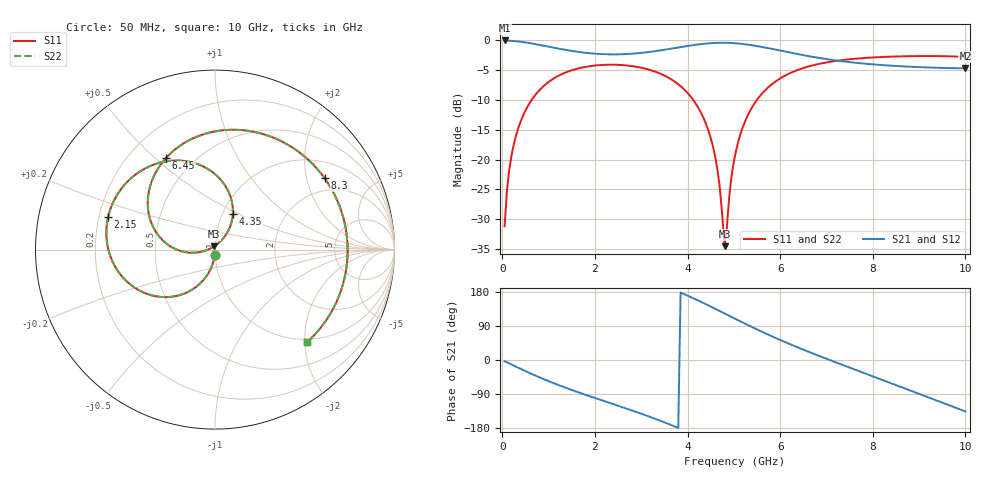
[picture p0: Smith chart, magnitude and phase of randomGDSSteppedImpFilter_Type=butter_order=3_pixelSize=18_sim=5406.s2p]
! freq	dB(S11)	phase(S11)	dB(S12)	phase(S12)
!  dB(S21)	phase(S21)	dB(S22)	phase(S22)
!S-par simulation data
#  GHz  S  DB  R 50
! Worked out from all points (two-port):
!   200 points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, 50 MHz to 10 GHz, reference 50 ohm
!   highest |S21| = -0.01 dB at 50 MHz (marker M1); lowest = -4.7 dB at 10 GHz (marker M2)
!   |S21| within 3 dB of the highest: start of sweep to 6.891 GHz
!   lowest |S11| = -34.5 dB at 4.8 GHz (marker M3), VSWR 1.04, Z = 49.4 + j1.75 ohm
!   |S11| at or under -10 dB: start of sweep to 633.3 MHz; 4.124 GHz to 5.497 GHz (1.374 GHz wide, 28.6 % of centre)
!   |S22| runs from -34.3 to -2.6 dB; largest |S21 - S12| = 0
!   S11 on the Smith chart (normalised r, x): 50 MHz: 1.00, -0.05; 2.15 GHz: 0.24, +0.14; 4.35 GHz: 1.12, +0.47; 6.45 GHz: 0.35, +0.54; 8.3 GHz: 1.52, +2.57; 10 GHz: 0.94, -2.06
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0.05  -31.17 -93.1  -0.01 -3.0  -0.01 -3.0  -31.17 -93.1
0.1  -25.18 -96.3  -0.02 -6.0  -0.02 -6.0  -25.18 -96.3
0.2  -19.26 -102.5  -0.07 -12.0  -0.07 -12.0  -19.26 -102.5
0.5  -11.77 -119.9  -0.34 -29.3  -0.34 -29.3  -11.77 -119.8
1.05  -6.69 -148.8  -1.13 -58.3  -1.13 -58.3  -6.69 -148.8
1.75  -4.51 179.6  -2.03 -89.9  -2.03 -89.9  -4.51 179.6
2.15  -4.12 163.1  -2.29 -106.4  -2.29 -106.4  -4.12 163.1
3.4  -5.54 110.5  -1.69 -159.7  -1.69 -159.7  -5.54 110.5
3.9  -8.02 86.3  -1.05 175.3  -1.05 175.3  -8.02 86.4
4.35  -13.10 63.3  -0.57 150.1  -0.57 150.1  -13.10 63.4
4.65  -21.88 53.5  -0.41 132.1  -0.41 132.1  -21.87 53.9
4.8  -34.51 109.3  -0.40 122.9  -0.40 122.9  -34.29 109.6
4.95  -22.81 -171.1  -0.44 113.6  -0.44 113.6  -22.80 -171.5
5.05  -18.40 -171.5  -0.49 107.5  -0.49 107.5  -18.40 -171.8
5.55  -9.46 164.4  -1.02 77.8  -1.02 77.8  -9.46 164.3
6.45  -4.76 118.3  -2.41 29.8  -2.41 29.8  -4.76 118.3
6.7  -4.19 106.3  -2.76 17.6  -2.76 17.6  -4.19 106.3
7.45  -3.21 71.6  -3.60 -17.8  -3.60 -17.8  -3.21 71.6
8.3  -2.75 33.1  -4.19 -56.9  -4.19 -56.9  -2.75 33.0
8.35  -2.73 30.8  -4.22 -59.2  -4.22 -59.2  -2.73 30.8
9.15  -2.62 -5.7  -4.53 -96.2  -4.53 -96.2  -2.62 -5.7
10  -2.76 -44.9  -4.68 -135.8  -4.68 -135.8  -2.76 -44.9
